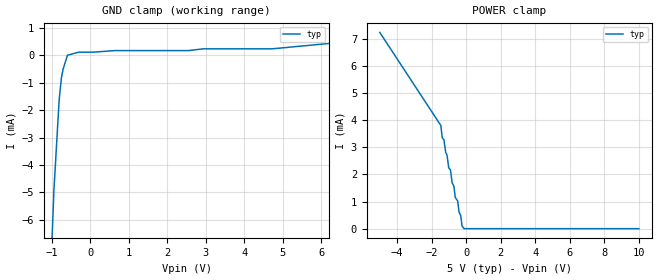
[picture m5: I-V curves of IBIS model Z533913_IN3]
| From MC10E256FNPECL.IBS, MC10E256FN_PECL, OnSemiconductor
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| (C) COPYRIGHT 1993-2000
| MENTOR GRAPHICS CORPORATION
| ICX STANDARD LIBRARY, ICX PROJECT MODELING,
| ICX CUSTOM MODELING, ICX VENDOR MODEL
| ALL RIGHTS RESERVED.
| THE FOLLOWING ARE TRADEMARKS OR SERVICE MARKS OF
| MENTOR GRAPHICS CORPORATION:ICX (R), ICX STANDARD
| LIBRARY(R), ICX PROJECT MODELING(R), ICX CUSTOM
| MODELING(R), qualityIBIS(TM), MODELVIEWER(TM),
| AND MODELEDITOR(TM)
| ALL COPIES OF SOFTWARE, INCLUDING BUT NOT LIMITED TO
| ANY MODIFICATIONS, ENHANCEMENTS OR DERIVATIVE WORKS,
| MUST CONTAIN ALL MENTOR GRAPHICS CORPORATION'S
| NOTICES AND LEGENDS, INCLUDING THOSE EMBEDDED IN
| SOFTWARE AND THOSE AFFIXED TO SOFTWARE MEDIUM
| AND CONTAINER, AS RECEIVED FROM MENTOR GRAPHICS
| CORPORATION.
| Model Application Version 1.89 2/18/99.
[Model] Z533913_IN3
Model_type Input_ECL
Vinl = 3.520V
Vinh = 3.830V
C_comp 4.000pF NA NA
| variable typ   min   max
[Voltage Range] 5.000V NA NA
[GND Clamp Reference] 0.000V NA NA
[POWER Clamp Reference] 5.000V NA NA
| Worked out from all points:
|   GND clamp passes 1 mA (typ) near -0.76 V on its own axis
|   POWER clamp passes 1 mA (typ) near -0.48 V on its own axis
[GND Clamp]
-5V       -343.6mA   NA         NA
-1.039V   -8.392mA   NA         NA
-943.8mV  -4.943mA   NA         NA
-807mV    -1.622mA   NA         NA
-750.6mV  -840.1uA   NA         NA
-705.1mV  -501.6uA   NA         NA
-590.6mV  7.353uA    NA         NA
-295.3mV  117.1uA    NA         NA
644.6mV   176.1uA    NA         NA
2.557V    176.1uA    NA         NA
4.728V    240.3uA    NA         NA
10V       940.6uA    NA         NA
[POWER Clamp]
-5V       7.246mA    NA         NA
-1.465V   3.809mA    NA         NA
-1.382V   3.356mA    NA         NA
-1.285V   3.277mA    NA         NA
-1.009V   2.249mA    NA         NA
-908mV    2.164mA    NA         NA
-708mV    1.564mA    NA         NA
-630mV    1.155mA    NA         NA
-489mV    1.022mA    NA         NA
-234mV    94.16uA    NA         NA
-117mV    0A         NA         NA
10V       0A         NA         NA
